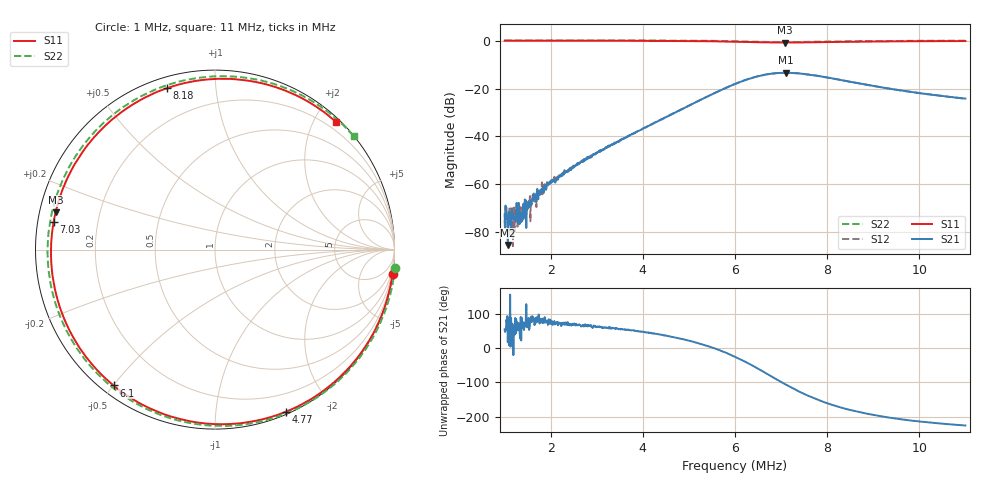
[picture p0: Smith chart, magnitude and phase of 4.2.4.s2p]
# MHz S DB R 50
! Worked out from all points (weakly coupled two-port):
!   1001 points, 1 MHz to 11 MHz, reference 50 ohm
!   highest |S21| = -13.41 dB at 7.11 MHz (marker M1); lowest = -85.3 dB at 1.07 MHz (marker M2)
!   lowest |S11| = -0.8 dB at 7.08 MHz (marker M3), VSWR 21.75, Z = 2.33 + j5.76 ohm
!   |S11| at or under -10 dB: nowhere
!   |S22| runs from -0.6 to 0.1 dB; largest |S21 - S12| = 0.0026
!   S11 on the Smith chart (normalised r, x): 1 MHz: 0, -14; 4.77 MHz: 0.02, -1.53; 6.1 MHz: 0.04, -0.50; 7.03 MHz: 0.05, +0.09; 8.18 MHz: 0.05, +0.74; 11 MHz: 0.06, +2.33
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1  -0.01 -8.0  -72.53 55.1  -75.13 112.9  0.08 -5.8
1.07  -0.01 -8.6  -85.26 16.6  -74.01 92.7  0.07 -6.2
1.1  -0.01 -8.9  -71.45 7.9  -70.88 86.9  0.07 -6.4
1.23  -0.01 -10.1  -73.33 88.1  -71.83 18.0  0.07 -7.3
1.26  -0.01 -10.4  -67.75 75.4  -69.12 79.0  0.07 -7.5
1.37  -0.01 -11.4  -75.52 88.9  -69.73 77.3  0.07 -8.3
1.66  -0.01 -14.2  -66.14 76.4  -64.16 81.3  0.07 -10.4
1.96  -0.01 -17.3  -59.61 84.2  -59.19 74.9  0.07 -12.6
2.67  -0.03 -25.4  -50.39 65.1  -50.58 65.2  0.05 -18.8
4.34  -0.08 -54.6  -33.48 40.9  -33.48 40.9  0.04 -41.9
4.77  -0.12 -66.4  -29.38 29.1  -29.32 29.9  0.01 -51.9
5.41  -0.24 -90.1  -23.24 5.9  -23.25 6.6  -0.07 -73.5
6  -0.45 -120.7  -18.08 -25.2  -18.08 -24.5  -0.25 -105.0
6.1  -0.49 -126.7  -17.33 -31.5  -17.32 -30.9  -0.29 -111.8
6.62  -0.72 -161.4  -14.32 -69.4  -14.31 -68.7  -0.53 -154.1
7.03  -0.80 170.2  -13.43 -101.2  -13.42 -100.6  -0.61 168.7
7.08  -0.80 166.8  -13.42 -105.0  -13.41 -104.3  -0.61 164.3
7.11  -0.80 164.8  -13.41 -107.2  -13.41 -106.6  -0.61 161.7
7.67  -0.70 130.8  -14.33 -144.1  -14.32 -143.5  -0.48 119.7
8.18  -0.56 106.7  -16.01 -169.0  -16.01 -168.3  -0.33 93.3
9.34  -0.31 71.6  -20.01 157.0  -19.98 157.8  -0.12 60.1
11  -0.17 46.5  -24.19 133.9  -24.19 134.4  -0.02 39.3
